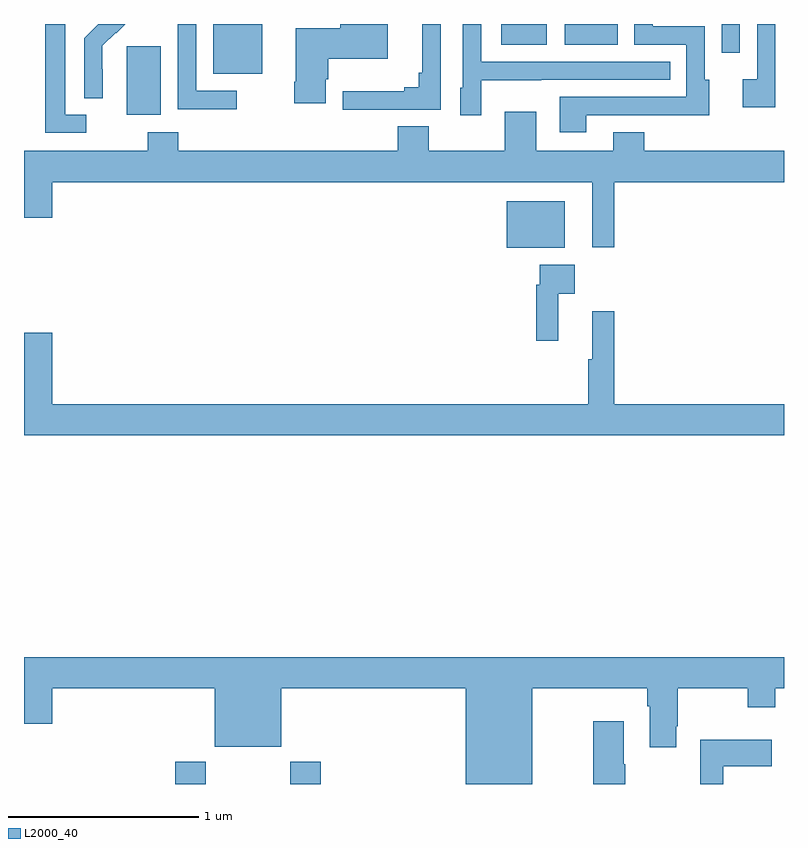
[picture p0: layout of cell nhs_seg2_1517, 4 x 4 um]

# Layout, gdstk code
import gdstk
lib = gdstk.Library(unit=1e-6, precision=1e-09)
def R(c, l, rs):  # rectangles x0, y0, x1, y1
    for r in rs: c.add(gdstk.rectangle(r[:2], r[2:], *l))
def P(c, l, *ps):  # polygons
    for p in ps: c.add(gdstk.Polygon(p, *l))
L2000_40 = (2000, 40)

nhs_seg2_1517 = lib.new_cell('nhs_seg2_1517')
R(nhs_seg2_1517, L2000_40, [(189.797,645.8,189.957,645.916), (190.402,645.8,190.562,645.916), (191.54,648.623,191.845,648.868), (189.542,649.322,189.721,649.683), (189.995,649.538,190.255,649.8), (192.672,649.65,192.768,649.8), (191.513,649.691,191.752,649.8), (191.846,649.691,192.124,649.8)])
P(nhs_seg2_1517, L2000_40, [(191.193,649.8),(191.096,649.8),(191.096,649.543),(191.077,649.543),(191.077,649.466),(191,649.466),(191,649.447),(190.677,649.447),(190.677,649.35),(191.193,649.35)],
  [(192.955,649.8),(192.858,649.8),(192.858,649.51),(192.783,649.51),(192.783,649.362),(192.955,649.362)],
  [(189.328,649.323),(189.217,649.323),(189.217,649.8),(189.113,649.8),(189.113,649.227),(189.328,649.227)],
  [(190.588,649.508),(190.601,649.508),(190.601,649.616),(190.915,649.616),(190.915,649.8),(190.664,649.8),(190.664,649.777),(190.43,649.777),(190.43,649.495),(190.423,649.495),(190.423,649.383),(190.588,649.383)],
  [(190.12,649.449),(189.906,649.449),(189.906,649.8),(189.808,649.8),(189.808,649.78),(189.81,649.78),(189.81,649.351),(190.12,649.351)],
  [(189.414,649.562),(189.413,649.562),(189.413,649.685),(189.483,649.755),(189.486,649.752),(189.534,649.8),(189.39,649.8),(189.391,649.799),(189.318,649.726),(189.318,649.408),(189.414,649.408)],
  [(191.406,649.505),(191.723,649.505),(191.723,649.506),(192.401,649.506),(192.401,649.602),(191.406,649.602),(191.406,649.8),(191.31,649.8),(191.31,649.464),(191.297,649.464),(191.297,649.32),(191.406,649.32)],
  [(191.959,649.32),(192.389,649.32),(192.389,649.319),(192.607,649.319),(192.607,649.506),(192.582,649.506),(192.582,649.788),(192.309,649.788),(192.309,649.8),(192.213,649.8),(192.213,649.692),(192.486,649.692),(192.486,649.416),(191.819,649.416),(191.819,649.23),(191.959,649.23)],
  [(192.107,648.968),(193,648.968),(193,649.132),(192.265,649.132),(192.265,649.231),(192.101,649.231),(192.101,649.132),(191.695,649.132),(191.695,649.339),(191.531,649.339),(191.531,649.132),(191.131,649.132),(191.131,649.261),(190.967,649.261),(190.967,649.132),(189.812,649.132),(189.812,649.231),(189.652,649.231),(189.652,649.132),(189,649.132),(189,648.78),(189.148,648.78),(189.148,648.968),(191.99,648.968),(191.99,648.624),(192.107,648.624)],
  [(191.813,648.38),(191.899,648.38),(191.899,648.532),(191.715,648.532),(191.715,648.428),(191.695,648.428),(191.695,648.132),(191.813,648.132)],
  [(193,647.8),(192.107,647.8),(192.107,648.289),(191.99,648.289),(191.99,648.036),(191.971,648.036),(191.971,647.8),(189.148,647.8),(189.148,648.175),(189,648.175),(189,647.636),(193,647.636)],
  [(191.674,646.304),(192.281,646.304),(192.281,646.208),(192.293,646.208),(192.293,645.993),(192.433,645.993),(192.433,646.105),(192.441,646.105),(192.441,646.304),(192.808,646.304),(192.808,646.205),(192.954,646.205),(192.954,646.304),(193,646.304),(193,646.468),(189,646.468),(189,646.116),(189.148,646.116),(189.148,646.304),(190.004,646.304),(190.004,645.995),(190.354,645.995),(190.354,646.304),(191.324,646.304),(191.324,645.8),(191.674,645.8)],
  [(192.165,645.905),(192.157,645.905),(192.157,646.129),(191.995,646.129),(191.995,645.8),(192.165,645.8)],
  [(192.679,645.893),(192.935,645.893),(192.935,646.033),(192.558,646.033),(192.558,645.8),(192.679,645.8)])

lib.write_gds('nhs_seg2_1517.gds')
